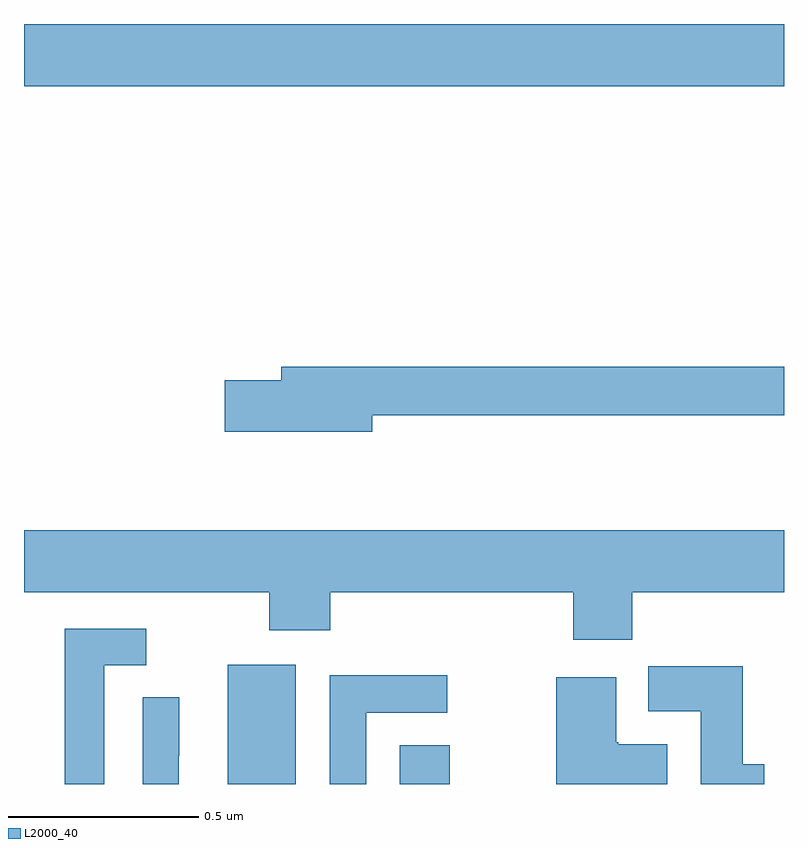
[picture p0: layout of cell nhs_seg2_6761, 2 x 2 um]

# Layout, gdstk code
import gdstk
lib = gdstk.Library(unit=1e-6, precision=1e-09)
def R(c, l, rs):  # rectangles x0, y0, x1, y1
    for r in rs: c.add(gdstk.rectangle(r[:2], r[2:], *l))
def P(c, l, *ps):  # polygons
    for p in ps: c.add(gdstk.Polygon(p, *l))
L2000_40 = (2000, 40)

nhs_seg2_6761 = lib.new_cell('nhs_seg2_6761')
R(nhs_seg2_6761, L2000_40, [(195.536,645.8,195.715,646.114), (195.989,645.8,196.12,645.902), (195,647.636,197,647.8)])
P(nhs_seg2_6761, L2000_40, [(195.916,646.77),(197,646.77),(197,646.898),(195.677,646.898),(195.677,646.862),(195.528,646.862),(195.528,646.727),(195.916,646.727)],
  [(196.601,646.304),(197,646.304),(197,646.468),(195,646.468),(195,646.304),(195.646,646.304),(195.646,646.205),(195.806,646.205),(195.806,646.304),(196.445,646.304),(196.445,646.18),(196.601,646.18)],
  [(195.211,646.113),(195.322,646.113),(195.322,646.209),(195.107,646.209),(195.107,645.8),(195.211,645.8)],
  [(196.948,645.852),(196.891,645.852),(196.891,646.11),(196.643,646.11),(196.643,645.992),(196.781,645.992),(196.781,645.8),(196.948,645.8)],
  [(195.9,645.987),(196.114,645.987),(196.114,646.086),(195.804,646.086),(195.804,645.8),(195.9,645.8)],
  [(196.693,645.904),(196.564,645.904),(196.564,645.91),(196.558,645.91),(196.558,646.081),(196.4,646.081),(196.4,645.8),(196.693,645.8)],
  [(195.407,645.874),(195.408,645.874),(195.408,646.028),(195.312,646.028),(195.312,645.8),(195.407,645.8)])

lib.write_gds('nhs_seg2_6761.gds')
